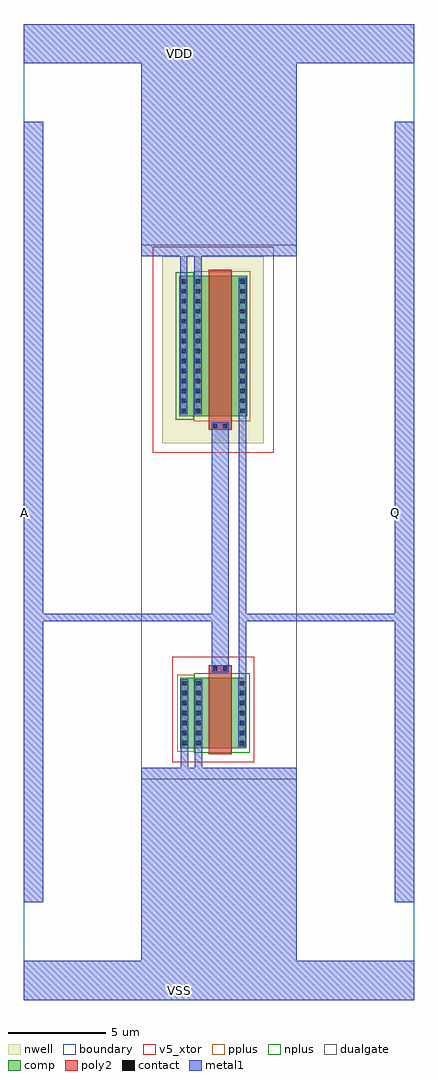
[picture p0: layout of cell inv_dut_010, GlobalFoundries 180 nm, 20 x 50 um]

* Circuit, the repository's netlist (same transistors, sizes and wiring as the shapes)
* inv_dut_010: pfet_05v0 W=7.20u L=1.20u / nfet_05v0 W=3.60u L=1.20u
.SUBCKT inv_dut_010 A Q VDD VSS
MMP Q A VDD VDD pfet_05v0 W=7.20u L=1.20u
MMN Q A VSS VSS nfet_05v0 W=3.60u L=1.20u
.ENDS

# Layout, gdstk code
import gdstk
lib = gdstk.Library(unit=1e-6, precision=1e-09)
def R(c, l, rs):  # rectangles x0, y0, x1, y1
    for r in rs: c.add(gdstk.rectangle(r[:2], r[2:], *l))
def A(c, l, x, y, w, h, nx, ny, dx, dy):  # array of equal rectangles
    R(c, l, [(x+i*dx, y+j*dy, x+i*dx+w, y+j*dy+h) for i in range(nx) for j in range(ny)])
boundary = (0, 0)
nwell = (21, 0)
comp = (22, 0)
poly2 = (30, 0)
pplus = (31, 0)
nplus = (32, 0)
contact = (33, 0)
metal1 = (34, 0)
dualgate = (55, 0)
v5_xtor = (112, 1)

inv_dut_010 = lib.new_cell('inv_dut_010')
R(inv_dut_010, boundary, [(-10,-25,10,25)])
R(inv_dut_010, nwell, [(-2.895,3.53,2.295,13.09)])
R(inv_dut_010, comp, [(-1.975,-12.1,1.395,-8.5), (-2.035,4.9,1.435,12.1)])
R(inv_dut_010, poly2, [(-0.535,-12.4,0.665,-7.84), (-0.535,4.22,0.665,12.4)])
R(inv_dut_010, pplus, [(-2.145,-12.27,-1.265,-8.33), (-1.305,4.66,1.605,12.34)])
R(inv_dut_010, nplus, [(-1.265,-12.34,1.565,-8.26), (-2.205,4.73,-1.305,12.27)])
A(inv_dut_010, contact, -1.875, -11.94, 0.22, 0.22, 1, 7, 0, 0.51)
A(inv_dut_010, contact, -1.165, -11.94, 0.22, 0.22, 1, 7, 0, 0.51)
A(inv_dut_010, contact, 1.075, -11.94, 0.22, 0.22, 1, 7, 0, 0.51)
A(inv_dut_010, contact, -1.915, 5.075, 0.22, 0.22, 1, 14, 0, 0.51)
A(inv_dut_010, contact, -1.185, 5.075, 0.22, 0.22, 1, 14, 0, 0.51)
A(inv_dut_010, contact, 1.095, 5.075, 0.22, 0.22, 1, 14, 0, 0.51)
R(inv_dut_010, contact, [(-0.3,-8.13,-0.08,-7.91), (0.21,-8.13,0.43,-7.91), (-0.3,4.3,-0.08,4.52), (0.21,4.3,0.43,4.52)])
R(inv_dut_010, metal1, [(-10,-25,10,-23), (-3.995,-23,3.995,-13.4), (-10,-20,-9,20), (9,-20,10,20), (-3.995,-13.7,3.995,-13.1), (-1.955,-13.7,-1.575,-8.58), (-1.245,-13.7,-0.865,-8.58), (-1.955,-12.02,-1.575,-8.58), (-1.245,-12.02,-0.865,-8.58), (0.995,-12.02,1.375,-8.58), (0.995,-8.96,1.395,-8.58), (1.015,-8.96,1.395,5.375), (-0.38,-8.21,0.51,4.6), (-0.38,-8.21,0.51,-7.83), (-9,-5.6,-3.695,-5.2), (-3.995,-5.6,0.51,-5.2), (1.015,-5.6,3.995,-5.2), (3.695,-5.6,9,-5.2), (-0.38,4.22,0.51,4.6), (-1.995,4.995,-1.615,13.7), (-1.995,4.995,-1.615,12.005), (-1.265,4.995,-0.885,13.7), (-1.265,4.995,-0.885,12.005), (1.015,4.995,1.395,5.375), (1.015,4.995,1.395,12.005), (-3.995,13.1,3.995,13.7), (-3.995,13.4,3.995,23), (-10,23,10,25)])
R(inv_dut_010, dualgate, [(-3.995,-13.7,3.995,13.7), (-2.395,-12.81,1.815,-7.42), (-3.395,3.03,2.795,13.59)])
R(inv_dut_010, v5_xtor, [(-2.395,-12.81,1.815,-7.42), (-3.395,3.03,2.795,13.59)])
inv_dut_010.add(gdstk.Label('VDD', (-2,23.5), layer=34, texttype=10))
inv_dut_010.add(gdstk.Label('VSS', (-2,-24.5), layer=34, texttype=10))
inv_dut_010.add(gdstk.Label('A', (-9.97,0), layer=34, texttype=10))
inv_dut_010.add(gdstk.Label('Q', (9.03,0), layer=34, texttype=10))

lib.write_gds('inv_dut_010.gds')
